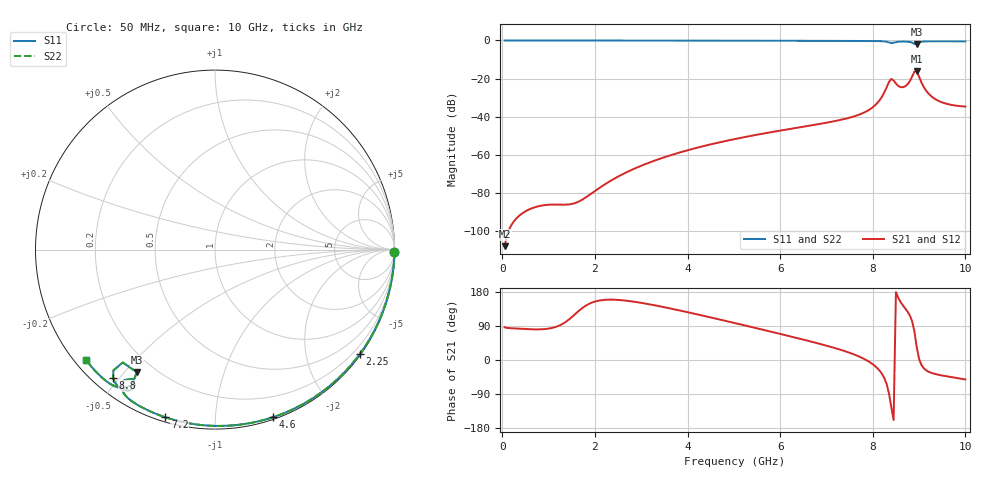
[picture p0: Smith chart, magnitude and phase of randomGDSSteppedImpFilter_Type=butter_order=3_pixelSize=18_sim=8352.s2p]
! freq	dB(S11)	phase(S11)	dB(S12)	phase(S12)
!  dB(S21)	phase(S21)	dB(S22)	phase(S22)
!S-par simulation data
#  GHz  S  DB  R 50
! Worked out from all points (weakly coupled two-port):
!   200 points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, 50 MHz to 10 GHz, reference 50 ohm
!   highest |S21| = -16.16 dB at 8.95 GHz (marker M1); lowest = -108.1 dB at 50 MHz (marker M2)
!   lowest |S11| = -1.8 dB at 8.95 GHz (marker M3), VSWR 9.50, Z = 6.83 - j27 ohm
!   |S11| at or under -10 dB: nowhere
!   |S22| runs from -1.8 to 0.0 dB; largest |S21 - S12| = 0
!   S11 on the Smith chart (normalised r, x): 50 MHz: open; 2.25 GHz: 0.03, -3.09; 4.6 GHz: 0.02, -1.40; 7.2 GHz: 0.02, -0.75; 8.8 GHz: 0.06, -0.48; 10 GHz: 0.03, -0.37
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0.05  -0.00 -0.8  -108.12 86.4  -108.12 86.4  -0.00 -0.8
1.75  -0.04 -28.1  -83.33 139.1  -83.33 139.1  -0.04 -28.1
1.95  -0.04 -31.2  -79.98 152.1  -79.98 152.1  -0.04 -31.2
2.25  -0.05 -35.9  -75.06 159.0  -75.06 159.0  -0.05 -35.9
3.4  -0.07 -53.4  -62.19 141.8  -62.19 141.8  -0.07 -53.4
4.6  -0.10 -70.9  -54.05 109.5  -54.05 109.5  -0.10 -70.9
5.05  -0.12 -77.3  -51.67 96.7  -51.67 96.7  -0.12 -77.3
6.7  -0.19 -99.8  -44.51 47.6  -44.51 47.6  -0.19 -99.8
7.2  -0.23 -106.5  -42.29 30.8  -42.29 30.8  -0.23 -106.5
7.95  -0.30 -117.0  -36.00 -6.9  -36.00 -6.9  -0.30 -117.0
8.15  -0.37 -120.6  -31.33 -28.5  -31.33 -28.5  -0.37 -120.6
8.35  -1.04 -124.9  -21.79 -88.6  -21.79 -88.6  -1.04 -124.9
8.4  -1.36 -122.6  -20.23 -124.4  -20.23 -124.4  -1.37 -122.6
8.55  -0.67 -121.9  -23.87 164.1  -23.87 164.1  -0.67 -121.8
8.65  -0.58 -124.3  -24.59 144.3  -24.59 144.3  -0.58 -124.3
8.8  -0.79 -128.5  -21.38 117.7  -21.38 117.7  -0.79 -128.5
8.9  -1.81 -129.2  -16.36 74.6  -16.36 74.6  -1.81 -129.2
8.95  -1.84 -122.5  -16.16 33.4  -16.16 33.4  -1.83 -122.5
9.1  -0.55 -125.1  -24.42 -21.5  -24.42 -21.5  -0.55 -125.1
9.3  -0.44 -129.5  -30.02 -35.3  -30.02 -35.3  -0.44 -129.5
9.6  -0.44 -134.2  -33.34 -43.1  -33.34 -43.1  -0.44 -134.2
10  -0.48 -139.6  -34.74 -51.4  -34.74 -51.4  -0.48 -139.6
